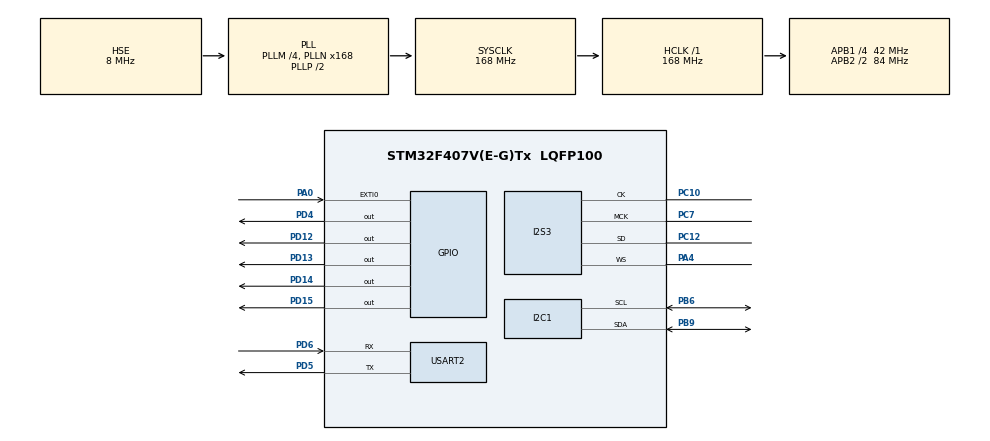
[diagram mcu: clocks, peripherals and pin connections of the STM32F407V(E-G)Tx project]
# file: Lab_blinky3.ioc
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Dma.Request0=SPI3_TX
Dma.SPI3_TX.0.Direction=DMA_MEMORY_TO_PERIPH
Dma.SPI3_TX.0.FIFOMode=DMA_FIFOMODE_DISABLE
Dma.SPI3_TX.0.Instance=DMA1_Stream7
Dma.SPI3_TX.0.MemDataAlignment=DMA_MDATAALIGN_HALFWORD
Dma.SPI3_TX.0.MemInc=DMA_MINC_ENABLE
Dma.SPI3_TX.0.Mode=DMA_CIRCULAR
Dma.SPI3_TX.0.PeriphDataAlignment=DMA_PDATAALIGN_HALFWORD
Dma.SPI3_TX.0.PeriphInc=DMA_PINC_DISABLE
Dma.SPI3_TX.0.Priority=DMA_PRIORITY_LOW
I2S3.AudioFreq=I2S_AUDIOFREQ_48K
I2S3.ErrorAudioFreq=-2.34 %
I2S3.FullDuplexMode=I2S_FULLDUPLEXMODE_DISABLE
I2S3.Instance=SPI$Index
I2S3.RealAudioFreq=46.875 KHz
I2S3.VirtualMode=I2S_MODE_MASTER
Mcu.Family=STM32F4
Mcu.Name=STM32F407V(E-G)Tx
Mcu.Package=LQFP100
NVIC.DMA1_Stream7_IRQn=true\:0\:0\:false\:false\:true\:false\:true
NVIC.EXTI0_IRQn=true\:0\:0\:false\:false\:true\:true\:true
NVIC.PriorityGroup=NVIC_PRIORITYGROUP_4
NVIC.TIM2_IRQn=true\:0\:0\:false\:false\:true\:true\:true
NVIC.USART2_IRQn=true\:0\:0\:false\:false\:true\:true\:true
PA0-WKUP.Signal=GPXTI0
PA4.Mode=Half_Duplex_Master
PA4.Signal=I2S3_WS
PB6.GPIO_Pu=GPIO_PULLUP
PB6.Mode=I2C
PB6.Signal=I2C1_SCL
PB9.GPIO_Pu=GPIO_PULLUP
PB9.Mode=I2C
PB9.Signal=I2C1_SDA
PC10.Mode=Half_Duplex_Master
PC10.Signal=I2S3_CK
PC12.Mode=Half_Duplex_Master
PC12.Signal=I2S3_SD
PC7.Mode=Master_Clock_Activated
PC7.Signal=I2S3_MCK
PD12.GPIO_Speed=GPIO_SPEED_FREQ_VERY_HIGH
PD12.Signal=GPIO_Output
PD13.GPIO_Speed=GPIO_SPEED_FREQ_VERY_HIGH
PD13.Signal=GPIO_Output
PD14.GPIO_Speed=GPIO_SPEED_FREQ_VERY_HIGH
PD14.Signal=GPIO_Output
PD15.GPIO_Speed=GPIO_SPEED_FREQ_VERY_HIGH
PD15.Signal=GPIO_Output
PD4.GPIO_PuPd=GPIO_PULLDOWN
PD4.Signal=GPIO_Output
PD5.Mode=Asynchronous
PD5.Signal=USART2_TX
PD6.Mode=Asynchronous
PD6.Signal=USART2_RX
PH0-OSC_IN.Mode=HSE-External-Oscillator
PH0-OSC_IN.Signal=RCC_OSC_IN
PH1-OSC_OUT.Mode=HSE-External-Oscillator
PH1-OSC_OUT.Signal=RCC_OSC_OUT
ProjectManager.HeapSize=0x200
ProjectManager.StackSize=0x400
ProjectManager.TargetToolchain=STM32CubeIDE
RCC.48MHZClocksFreq_Value=84000000
RCC.AHBFreq_Value=168000000
RCC.APB1CLKDivider=RCC_HCLK_DIV4
RCC.APB1Freq_Value=42000000
RCC.APB1TimFreq_Value=84000000
RCC.APB2CLKDivider=RCC_HCLK_DIV2
RCC.APB2Freq_Value=84000000
RCC.APB2TimFreq_Value=168000000
RCC.CortexFreq_Value=168000000
RCC.HCLKFreq_Value=168000000
RCC.HSE_VALUE=8000000
RCC.HSI_VALUE=16000000
RCC.LSE_VALUE=32768
RCC.PLLM=4
RCC.PLLN=168
RCC.PLLSourceVirtual=RCC_PLLSOURCE_HSE
RCC.SYSCLKFreq_VALUE=168000000
RCC.SYSCLKSource=RCC_SYSCLKSOURCE_PLLCLK
RCC.VCOOutputFreq_Value=336000000
TIM2.Period=3000000
TIM2.Prescaler=1
USART2.VirtualMode=VM_ASYNC
VP_TIM2_VS_ClockSourceINT.Mode=Internal
VP_TIM2_VS_OPM.Mode=OPM_bit
board=custom

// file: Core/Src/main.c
/* USER CODE BEGIN Header */
/**
  ******************************************************************************
  * @file           : main.c
  * @brief          : Main program body
  ******************************************************************************
  * @attention
  *
  * <h2><center>&copy; Copyright (c) 2020 STMicroelectronics.
  * All rights reserved.</center></h2>
  *
  * This software component is licensed by ST under BSD 3-Clause license,
  * the "License"; You may not use this file except in compliance with the
  * License. You may obtain a copy of the License at:
  *                        opensource.org/licenses/BSD-3-Clause
  *
  ******************************************************************************
  */
/* USER CODE END Header */
#include "main.h"
#include "dma.h"
#include "i2c.h"
#include "i2s.h"
#include "tim.h"
#include "usart.h"
#include "gpio.h"

/* USER CODE BEGIN Includes */
#include <math.h>
/* USER CODE END Includes */

/* USER CODE BEGIN PTD */

#define BUFFER_SIZE 64

uint16_t buffer[BUFFER_SIZE];

#define KEY_TIME 3 // 3 seconds
#define TIMER_FREQ_SEC 1000000
#define KEYS_NUM 12
#define DECAY_CONSTANT 0.1
#define SAMPLE_RATE 48000.0

char rx_data;

struct key {
	double freq;
	uint32_t curr;
	uint32_t max_idx;
	char pressed;
	char tone;
	uint32_t timestamp;
	double samples[256];
};
struct key keys[KEYS_NUM];
uint16_t sample_num;
/* USER CODE END PTD */

void SystemClock_Config(void);

/* USER CODE BEGIN 0 */
void init_key(int idx, double freq, int curr, char pressed, char tone,
		uint32_t timestamp) {

	keys[idx].freq = freq;
	keys[idx].curr = curr;
	keys[idx].pressed = pressed;
	keys[idx].tone = tone;
	keys[idx].timestamp = timestamp;
	keys[idx].max_idx = SAMPLE_RATE / freq;

	for (int i = 0; i < keys[idx].max_idx; i++) {
		keys[idx].samples[i] = sin(2 * M_PI * freq * i
				/ SAMPLE_RATE);
	}
}

static inline uint16_t get_sample() {
	double result = 0;
	uint32_t press_cnt = 0;
	uint16_t retval;

	for (int i = 0; i < KEYS_NUM; i++) {
		if (keys[i].pressed) {
			press_cnt++;
			result += keys[i].samples[keys[i].curr++];
			if (keys[i].curr == keys[i].max_idx) {
				keys[i].curr = 0;
			}
		}
	}
	result /= press_cnt;
	retval = (10000 + result * 10000);

	return retval;
}

void init_keys() {
	init_key(0, 261.63, 0, 0, 'a', 0); // C4
	init_key(1, 277.18, 0, 0, 'w', 0);
	init_key(2, 293.66, 0, 0, 's', 0);
	init_key(3, 311.13, 0, 0, 'e', 0);
	init_key(4, 329.63, 0, 0, 'd', 0);
	init_key(5, 349.23, 0, 0, 'f', 0);
	init_key(6, 369.99, 0, 0, 't', 0);
	init_key(7, 392.00, 0, 0, 'g', 0);
	init_key(8, 415.30, 0, 0, 'z', 0);
	init_key(9, 440.00, 0, 0, 'h', 0);
	init_key(10, 466.16, 0, 0, 'u', 0);
	init_key(11, 493.88, 0, 0, 'j', 0); // H4
}

int main(void){
	HAL_Init();
	SystemClock_Config();
	MX_GPIO_Init();
	MX_DMA_Init();
	MX_USART2_UART_Init();
	MX_I2C1_Init();
	MX_I2S3_Init();
	MX_TIM2_Init();

	init_keys();
	configAudio();

	HAL_I2S_Transmit_DMA(&hi2s3, buffer, BUFFER_SIZE);

	while(1) {

	}
}

void on_key_pressed(char c) {
	for (int i = 0; i < KEYS_NUM; i++) {
		if (keys[i].tone == c) {
			keys[i].pressed = 1;
			break;
		}
	}
}

void on_key_released(char c) {
	for (int i = 0; i < KEYS_NUM; i++) {
		if (keys[i].tone == c) {
			keys[i].pressed = 0;
			break;
		}
	}
}

void USER_UART_IRQHandler(UART_HandleTypeDef *huart) {
	static uint8_t state = 0; // 0 -> released, 1 -> pressed
	if( huart ->Instance == USART2 ) {
		rx_data = __HAL_UART_FLUSH_DRREGISTER( huart );
		if( rx_data == 'r' ) {
			state = 0;
			return;
		}
		else if( rx_data == 'p' ) {
			state = 1;
			return;
		}
		if( state == 0 ) {
			on_key_released(rx_data);
		}
		else {
			on_key_pressed(rx_data);
		}

//		static char rx_head;
//		rx_head = RX_BUFFER_HEAD + 1;
//		if( rx_head == BUFSIZE ) {
//			rx_head = 0;
//		}
//		if( rx_head != RX_BUFFER_TAIL ) {
//			RX_BUFFER[RX_BUFFER_HEAD] = rx_data;
//			RX_BUFFER_HEAD = rx_head;
//		}
	}
}

static void fill_buffer(int start, int end) {
	uint16_t sample = 0;

	for (int i = start; i < end; i+=2) {
		sample = get_sample();
		buffer[i] = sample;
		buffer[i+1] = sample;
	}
}

void HAL_I2S_TxHalfCpltCallback(I2S_HandleTypeDef *hi2s) {
	fill_buffer(0, BUFFER_SIZE / 2);
}

void HAL_I2S_TxCpltCallback(I2S_HandleTypeDef *hi2s) {
	fill_buffer(BUFFER_SIZE / 2, BUFFER_SIZE);
}
/* USER CODE END 0 */
void SystemClock_Config(void)
{
  RCC_OscInitTypeDef RCC_OscInitStruct = {0};
  RCC_ClkInitTypeDef RCC_ClkInitStruct = {0};

  /** Configure the main internal regulator output voltage
  */
  __HAL_RCC_PWR_CLK_ENABLE();
  __HAL_PWR_VOLTAGESCALING_CONFIG(PWR_REGULATOR_VOLTAGE_SCALE1);
  /** Initializes the RCC Oscillators according to the specified parameters
  * in the RCC_OscInitTypeDef structure.
  */
  RCC_OscInitStruct.OscillatorType = RCC_OSCILLATORTYPE_HSE;
  RCC_OscInitStruct.HSEState = RCC_HSE_ON;
  RCC_OscInitStruct.PLL.PLLState = RCC_PLL_ON;
  RCC_OscInitStruct.PLL.PLLSource = RCC_PLLSOURCE_HSE;
  RCC_OscInitStruct.PLL.PLLM = 4;
  RCC_OscInitStruct.PLL.PLLN = 168;
  RCC_OscInitStruct.PLL.PLLP = RCC_PLLP_DIV2;
  RCC_OscInitStruct.PLL.PLLQ = 4;
  if (HAL_RCC_OscConfig(&RCC_OscInitStruct) != HAL_OK)
  {
    Error_Handler();
  }
  /** Initializes the CPU, AHB and APB buses clocks
  */
  RCC_ClkInitStruct.ClockType = RCC_CLOCKTYPE_HCLK|RCC_CLOCKTYPE_SYSCLK
                              |RCC_CLOCKTYPE_PCLK1|RCC_CLOCKTYPE_PCLK2;
  RCC_ClkInitStruct.SYSCLKSource = RCC_SYSCLKSOURCE_PLLCLK;
  RCC_ClkInitStruct.AHBCLKDivider = RCC_SYSCLK_DIV1;
  RCC_ClkInitStruct.APB1CLKDivider = RCC_HCLK_DIV4;
  RCC_ClkInitStruct.APB2CLKDivider = RCC_HCLK_DIV2;

  if (HAL_RCC_ClockConfig(&RCC_ClkInitStruct, FLASH_LATENCY_5) != HAL_OK)
  {
    Error_Handler();
  }
}

void Error_Handler(void)
{
  __disable_irq();
  while (1){
  }
}
